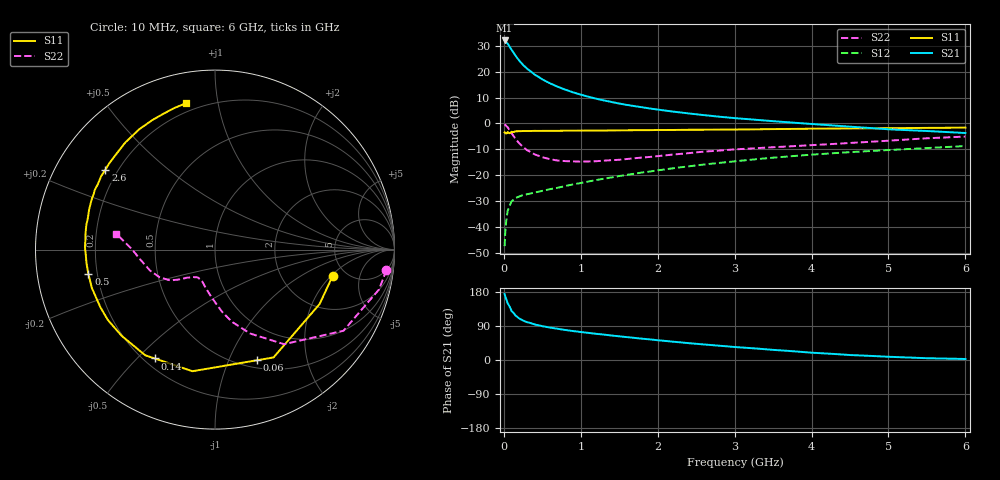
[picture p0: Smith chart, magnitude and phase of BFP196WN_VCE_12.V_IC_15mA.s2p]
! Infineon Technologies  Discrete & RF Semiconductors
! BFP196WN
! VCE =  12. V,  IC =  15 mA
! Common Emitter S-Parameters:  Jan 2017
# GHz  S  MA  R  50
!  f  S11  S21  S12  S22
! GHz  MAG  ANG  MAG  ANG  MAG  ANG  MAG  ANG
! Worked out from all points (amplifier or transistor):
!   77 points, 10 MHz to 6 GHz, reference 50 ohm
!   highest |S21| = 32.2 dB at 10 MHz (marker M1)
!   |S21| within 3 dB of that: start of sweep to 86.71 MHz
!   unconditionally stable (mu >= 1): 1.045 GHz to 2.613 GHz
!   at 130 MHz: K = 0.26, MSG = 28.3 dB, |S12| = -29.4 dB
!   at 2.2 GHz: K = 1.04, MAG = 9.8 dB, |S12| = -17.4 dB
!   at 6 GHz: K = 0.85, MSG = 2.5 dB, |S12| = -8.7 dB
!   S11 on the Smith chart (normalised r, x): 10 MHz: 3.89, -2.10; 60 MHz: 0.59, -1.28; 140 MHz: 0.24, -0.56; 500 MHz: 0.17, -0.09; 2.6 GHz: 0.15, +0.32; 6 GHz: 0.15, +0.81
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0.01  0.6714 -12.8  40.52 174.0  0.0042 74.4  0.962 -6.8
0.02  0.6569 -27.5  38.91 166.8  0.0085 74.0  0.9403 -13.7
0.05  0.6836 -61.5  35.29 149.6  0.0203 61.1  0.8466 -32.3
0.06  0.6597 -69.1  33.32 146.4  0.0223 57.7  0.7999 -35.7
0.1  0.6892 -100.5  26.81 129.6  0.0309 48.8  0.6519 -53.9
0.14  0.6935 -119.0  21.85 120.5  0.0348 41.8  0.533 -64.1
0.15  0.7056 -123.5  20.72 117.6  0.0359 40.3  0.5066 -67.3
0.2  0.7079 -137.3  16.48 109.6  0.0385 38.3  0.4131 -76.8
0.25  0.7144 -146.7  13.62 104.1  0.0411 37.4  0.3517 -83.2
0.3  0.7148 -153.5  11.58 100.0  0.0425 36.8  0.3051 -88.4
0.4  0.7187 -162.8  8.87 93.8  0.0458 39.4  0.2526 -96.5
0.5  0.7184 -169.2  7.147 89.3  0.0495 41.5  0.2217 -103.1
0.7  0.7205 -177.6  5.138 82.4  0.0568 46.9  0.1912 -111.7
0.9  0.7242 175.8  4.006 76.4  0.0659 51.0  0.1843 -118.0
1.1  0.7282 171.0  3.289 71.5  0.0751 54.3  0.1835 -122.6
1.5  0.7352 162.8  2.43 62.5  0.0959 58.3  0.1979 -130.0
2.1  0.7474 152.2  1.776 50.3  0.1294 60.1  0.2414 -138.0
2.6  0.7561 143.9  1.451 41.0  0.1602 59.6  0.2847 -143.5
3.1  0.765 136.1  1.236 32.9  0.1911 57.6  0.3207 -149.2
4.1  0.7934 120.9  0.954 18.2  0.2545 51.4  0.3873 -164.4
5.1  0.8122 109.4  0.759 7.8  0.311 44.2  0.4739 178.4
6  0.8314 101.2  0.653 2.6  0.3655 37.8  0.5575 170.9
